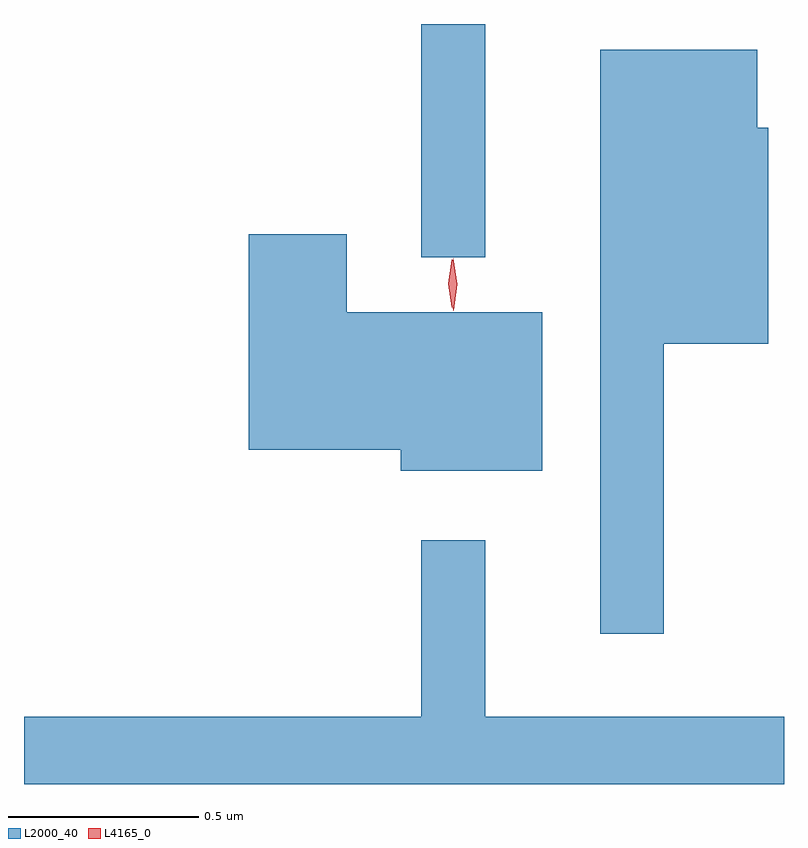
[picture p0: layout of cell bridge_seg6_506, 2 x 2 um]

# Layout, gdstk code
import gdstk
lib = gdstk.Library(unit=1e-6, precision=1e-09)
def R(c, l, rs):  # rectangles x0, y0, x1, y1
    for r in rs: c.add(gdstk.rectangle(r[:2], r[2:], *l))
def P(c, l, *ps):  # polygons
    for p in ps: c.add(gdstk.Polygon(p, *l))
L2000_40 = (2000, 40)
L4165_0 = (4165, 0)

bridge_seg6_506 = lib.new_cell('bridge_seg6_506')
R(bridge_seg6_506, L2000_40, [(764.431,1535.973,764.599,1536.587)])
P(bridge_seg6_506, L2000_40, [(765.069,1535.746),(765.344,1535.746),(765.344,1536.314),(765.314,1536.314),(765.314,1536.519),(764.901,1536.519),(764.901,1534.983),(765.069,1534.983)],
  [(764.749,1535.829),(764.234,1535.829),(764.234,1536.034),(763.976,1536.034),(763.976,1535.466),(764.376,1535.466),(764.376,1535.411),(764.749,1535.411)],
  [(765.385,1534.764),(764.599,1534.764),(764.599,1535.228),(764.431,1535.228),(764.431,1534.764),(763.385,1534.764),(763.385,1534.587),(765.385,1534.587)])
P(bridge_seg6_506, L4165_0, [(764.515,1535.833),(764.515,1535.834),(764.505,1535.902),(764.514,1535.97),(764.515,1535.97),(764.515,1535.97),(764.525,1535.902),(764.516,1535.834)],
  [(764.511,1535.841),(764.51,1535.842),(764.501,1535.904),(764.51,1535.967),(764.511,1535.967),(764.512,1535.967),(764.521,1535.904),(764.512,1535.842)])

lib.write_gds('bridge_seg6_506.gds')
